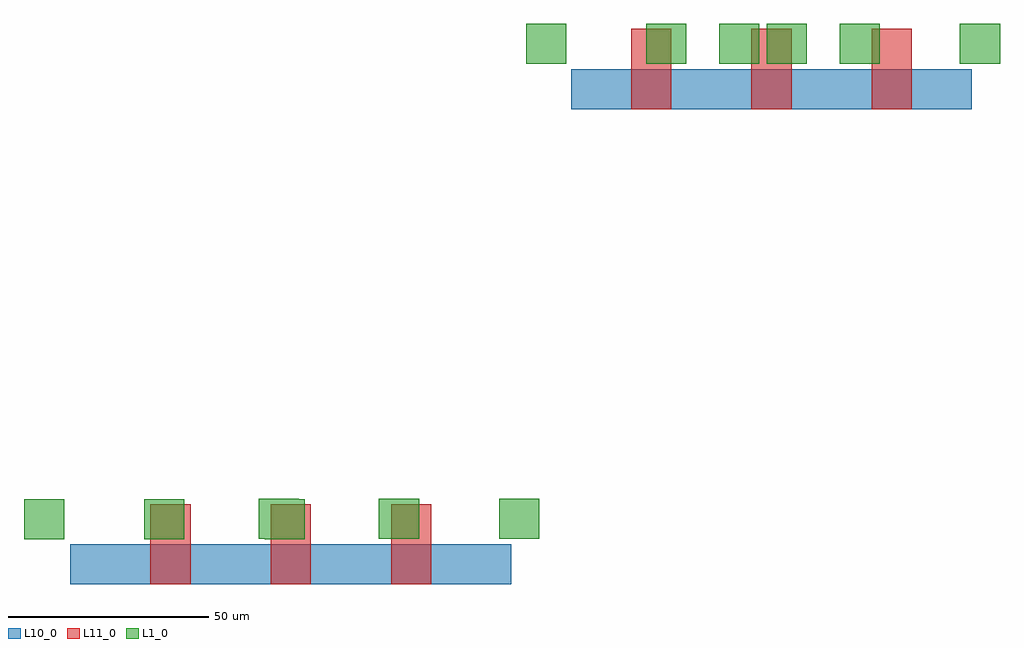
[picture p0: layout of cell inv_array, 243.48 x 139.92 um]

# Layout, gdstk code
import gdstk
lib = gdstk.Library(unit=1e-6, precision=1e-09)
def R(c, l, rs):  # rectangles x0, y0, x1, y1
    for r in rs: c.add(gdstk.rectangle(r[:2], r[2:], *l))
L1_0 = (1, 0)
L10_0 = (10, 0)
L11_0 = (11, 0)

inv_base_pmos = lib.new_cell('inv_base_pmos')
R(inv_base_pmos, L1_0, [(19.582,54.398,29.582,64.398), (78.139,54.43,88.139,64.43)])
R(inv_base_pmos, L10_0, [(31.139,43.086,81.139,53.086)])
R(inv_base_pmos, L11_0, [(51.139,43.086,61.139,63.086)])

inv_base_nmos = lib.new_cell('inv_base_nmos')
R(inv_base_nmos, L1_0, [(144.819,174.398,154.819,184.398), (193.06,174.43,203.06,184.43)])
R(inv_base_nmos, L10_0, [(156.06,163.086,196.06,173.086)])
R(inv_base_nmos, L11_0, [(171.06,163.086,181.06,183.086)])

inv_base = lib.new_cell('inv_base')
inv_base.add(gdstk.Reference(inv_base_pmos, (350,350.712)))
inv_base.add(gdstk.Reference(inv_base_nmos, (350,349.288)))

inv_array = lib.new_cell('inv_array')
inv_array.add(gdstk.Reference(inv_base, (245,275)))
inv_array.add(gdstk.Reference(inv_base, (275,275)))
inv_array.add(gdstk.Reference(inv_base, (305,275)))

lib.write_gds('inv_array.gds')
